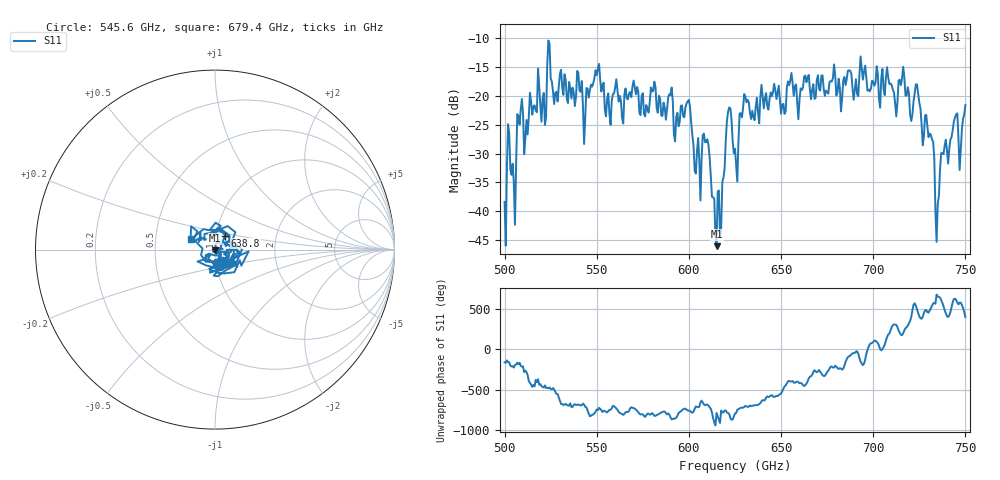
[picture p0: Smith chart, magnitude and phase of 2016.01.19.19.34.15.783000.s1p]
!Created with skrf (http://scikit-rf.org).
# GHz S RI R 50.0
!freq ReS11 ImS11
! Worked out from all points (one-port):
!   401 points, 500 GHz to 750 GHz, reference 50 ohm
!   lowest |S11| = -46.0 dB at 615 GHz (marker M1), VSWR 1.01, Z = 50.2 - j0.459 ohm
!   |S11| at or under -10 dB: start of sweep to end of sweep
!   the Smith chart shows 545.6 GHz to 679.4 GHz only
!   S11 on the Smith chart (normalised r, x): 545.6 GHz: 1.04, -0.19; 638.8 GHz: 1.11, +0.17; 679.4 GHz: 0.76, +0.09
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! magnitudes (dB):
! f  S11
! 500 GHz  -38.4
! 502.5 GHz  -26.5
! 505 GHz  -35.1
! 508.1 GHz  -25.0
! 521.2 GHz  -19.5
! 524.4 GHz  -11.0
! 531.2 GHz  -18.6
! 545.6 GHz  -20.4
! 562.5 GHz  -20.0
! 580.6 GHz  -19.2
! 593.8 GHz  -23.0
! 599.4 GHz  -21.0
! 605 GHz  -27.3
! 609.4 GHz  -28.0
! 615 GHz  -46.0
! 618.1 GHz  -34.9
! 621.9 GHz  -22.0
! 625 GHz  -29.2
! 630.6 GHz  -20.2
! 638.8 GHz  -20.3
! 656.2 GHz  -17.8
! 679.4 GHz  -16.6
! 687.5 GHz  -15.7
! 718.8 GHz  -18.5
! 731.2 GHz  -26.8
! 735 GHz  -38.7
! 738.1 GHz  -30.1
! 750 GHz  -21.6
